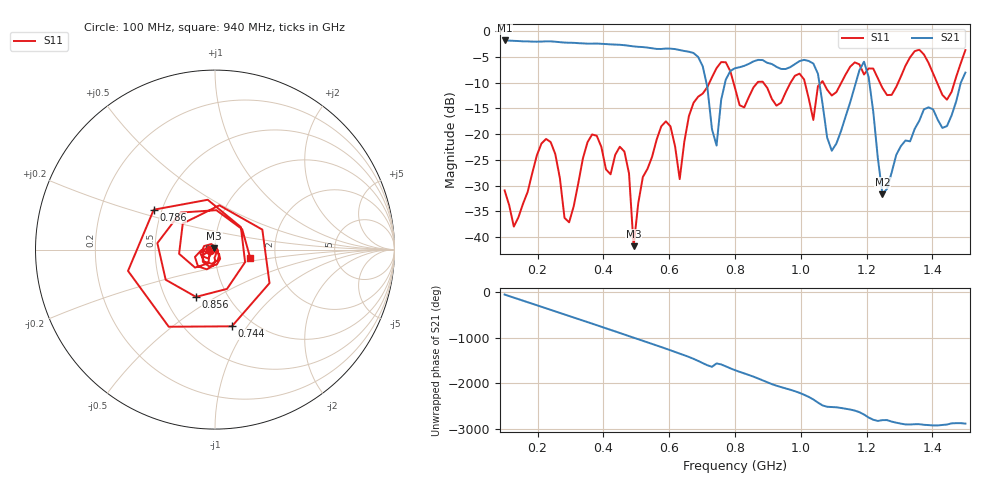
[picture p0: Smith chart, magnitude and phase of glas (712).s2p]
! NanoVNA-App
! Date: 2025-09-25 16:01:01
! Start: 100MHz Stop: 1,5GHz Points: 101
! S-Parameter data: F S11 S21 S12 S22
# Hz S RI R 50
!  Frequency  S11_Real  S11_Imag  S21_Real  S21_Imag  S12_Real  S12_Imag  S22_Real  S22_Imag
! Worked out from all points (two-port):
!   101 points, 100 MHz to 1.5 GHz, reference 50 ohm
!   highest |S21| = -1.80 dB at 100 MHz (marker M1); lowest = -31.7 dB at 1.248 GHz (marker M2)
!   |S21| within 3 dB of the highest: start of sweep to 684.3 MHz
!   lowest |S11| = -41.8 dB at 492 MHz (marker M3), VSWR 1.02, Z = 49.5 + j0.652 ohm
!   |S11| at or under -10 dB: start of sweep to 722.4 MHz; 795.5 MHz to 868 MHz (72.47 MHz wide, 8.71 % of centre); 886.2 MHz to 968.9 MHz (82.65 MHz wide, 8.91 % of centre) (the widest 3 of 7)
!   S12 and S22 are empty: the file has one direction only
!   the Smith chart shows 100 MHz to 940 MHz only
!   S11 on the Smith chart (normalised r, x): 100 MHz: 0.94, -0.01; 744 MHz: 0.81, -0.85; 786 MHz: 0.45, +0.24; 856 MHz: 0.71, -0.41; 940 MHz: 1.48, -0.15
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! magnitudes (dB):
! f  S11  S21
! 100 MHz  -30.9  -1.8
! 128 MHz  -38.0  -1.9
! 226 MHz  -20.9  -2.0
! 296 MHz  -37.1  -2.2
! 338 MHz  -24.7  -2.4
! 464 MHz  -23.4  -2.7
! 492 MHz  -41.8  -3.0
! 576 MHz  -18.5  -3.5
! 632 MHz  -28.7  -3.7
! 702 MHz  -12.1  -6.8
! 744 MHz  -7.2  -22.2
! 786 MHz  -7.8  -7.7
! 800 MHz  -11.0  -7.2
! 856 MHz  -10.9  -5.9
! 940 MHz  -13.9  -7.3
! 996 MHz  -8.2  -5.8
! 1.038 GHz  -17.2  -6.3
! 1.094 GHz  -12.5  -23.2
! 1.192 GHz  -8.4  -5.9
! 1.248 GHz  -11.0  -31.7
! 1.276 GHz  -12.4  -27.4
! 1.5 GHz  -3.7  -8.0
